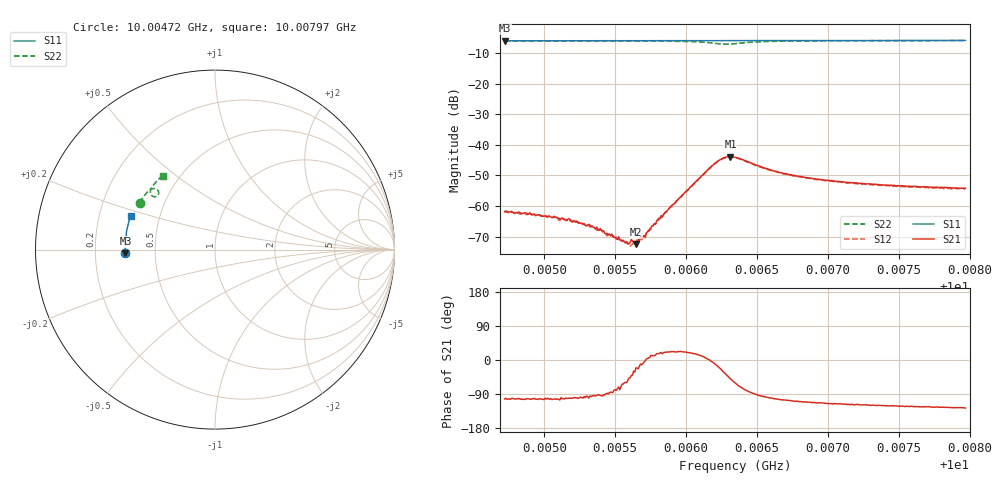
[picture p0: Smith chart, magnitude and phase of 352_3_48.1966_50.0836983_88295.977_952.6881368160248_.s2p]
#  HZ  S  RI  R  50.00
! Rohde & Schwarz Vector Network Analyzer
! Rohde-Schwarz,ZNB20-2Port,1311601062101988,3.16
! Created: UTC 3/20/2024, 11:51:51 AM
! freq[Hz]  re:S11  im:S11  re:S21  im:S21  re:S12  im:S12  re:S22  im:S22
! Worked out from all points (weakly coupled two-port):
!   401 points, 10.00472 GHz to 10.00797 GHz, reference 50 ohm
!   highest |S21| = -43.85 dB at 10.00631 GHz (marker M1); lowest = -72.5 dB at 10.00565 GHz (marker M2)
!   lowest |S11| = -6.0 dB at 10.00472 GHz (marker M3), VSWR 2.99, Z = 16.7 - j0.904 ohm
!   |S11| at or under -10 dB: nowhere
!   |S22| runs from -7.1 to -6.0 dB; largest |S21 - S12| = 0.00036
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1.000472e10  -0.4987 -0.0203  -0.000179 -0.00079  -0.00014 -0.000797  -0.4187 0.261
1.0004939e10  -0.4995 -0.00601  -0.000163 -0.000675  -0.000114 -0.00071  -0.4112 0.2741
1.0005086e10  -0.4999 0.00351  -0.000158 -0.000639  -0.00011 -0.000601  -0.4059 0.2828
1.0005264e10  -0.4999 0.015  -8.59e-05 -0.000516  -7.3e-05 -0.000505  -0.3988 0.2933
1.0005386e10  -0.4999 0.023  -1.46e-05 -0.0004  -1.02e-05 -0.000423  -0.3936 0.3006
1.0005581e10  -0.4995 0.0356  0.000133 -0.000225  0.00015 -0.000206  -0.3844 0.3124
1.0005606e10  -0.4995 0.0372  0.000175 -0.000186  0.000171 -0.00014  -0.3831 0.314
1.0005622e10  -0.4995 0.0382  0.000205 -0.000172  0.000195 -0.000132  -0.3822 0.315
1.0005646e10  -0.4994 0.0399  0.000222 -8.38e-05  0.00025 -0.000109  -0.3808 0.3165
1.0005663e10  -0.4992 0.0408  0.000263 -0.000114  0.00024 -4.89e-05  -0.3799 0.3177
1.0005703e10  -0.4992 0.0435  0.000328 -3.39e-05  0.000316 7.33e-06  -0.3776 0.3202
1.0005809e10  -0.4988 0.0503  0.000607 0.000185  0.000562 0.000212  -0.3705 0.3267
1.0005947e10  -0.498 0.0593  0.00122 0.000485  0.00116 0.000535  -0.3583 0.3354
1.0006191e10  -0.4959 0.0749  0.00464 -0.000539  0.00458 -0.000316  -0.3182 0.3295
1.0006256e10  -0.4954 0.0788  0.00528 -0.00283  0.00532 -0.00253  -0.3146 0.3097
1.0006313e10  -0.495 0.0822  0.00417 -0.00488  0.00431 -0.00456  -0.3276 0.2957
1.0006345e10  -0.4947 0.0842  0.00312 -0.00544  0.00332 -0.0052  -0.3376 0.2941
1.0006613e10  -0.4926 0.1015  -0.000748 -0.00367  -0.000591 -0.00368  -0.3587 0.332
1.000689e10  -0.4892 0.1191  -0.00107 -0.00261  -0.000912 -0.00258  -0.3466 0.3557
1.0007141e10  -0.4857 0.1348  -0.00112 -0.00214  -0.000956 -0.00215  -0.3342 0.3711
1.0007434e10  -0.4808 0.153  -0.0011 -0.00185  -0.00102 -0.00191  -0.3196 0.3864
1.000797e10  -0.4701 0.186  -0.00118 -0.00157  -0.00105 -0.00156  -0.2923 0.4104
